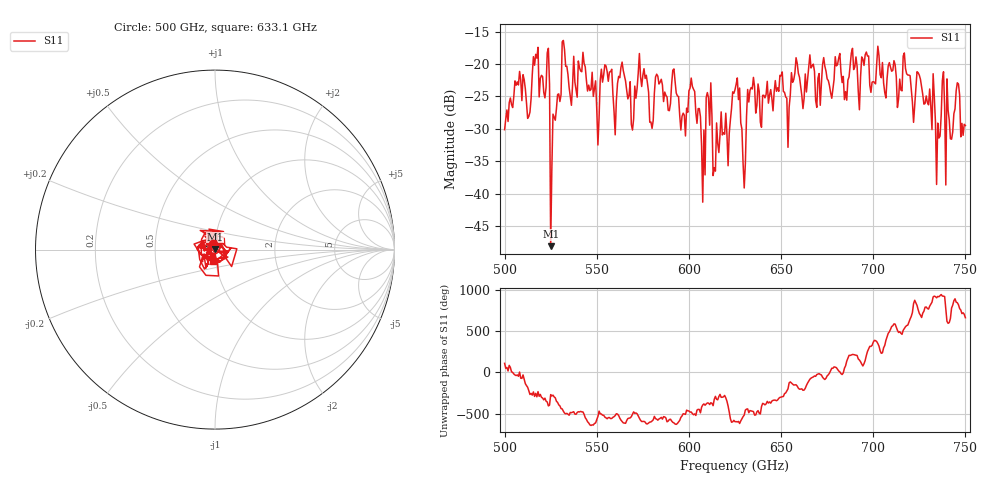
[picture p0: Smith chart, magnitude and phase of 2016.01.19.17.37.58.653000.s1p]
!Created with skrf (http://scikit-rf.org).
# GHz S RI R 50.0
!freq ReS11 ImS11
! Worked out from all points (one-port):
!   401 points, 500 GHz to 750 GHz, reference 50 ohm
!   lowest |S11| = -48.1 dB at 525 GHz (marker M1), VSWR 1.01, Z = 50 + j0.394 ohm
!   |S11| at or under -10 dB: start of sweep to end of sweep
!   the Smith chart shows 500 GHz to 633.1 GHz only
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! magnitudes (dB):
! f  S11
! 500 GHz  -30.1
! 506.9 GHz  -22.8
! 513.1 GHz  -28.1
! 516.9 GHz  -18.5
! 523.1 GHz  -18.3
! 525 GHz  -48.1
! 526.2 GHz  -27.7
! 531.2 GHz  -16.6
! 550 GHz  -27.0
! 562.5 GHz  -22.1
! 570 GHz  -28.5
! 574.4 GHz  -23.5
! 579.4 GHz  -28.9
! 583.1 GHz  -21.9
! 593.8 GHz  -24.9
! 601.9 GHz  -23.5
! 607.5 GHz  -41.3
! 610.6 GHz  -25.2
! 614.4 GHz  -36.5
! 625 GHz  -24.0
! 629.4 GHz  -35.3
! 634.4 GHz  -23.8
! 656.2 GHz  -22.8
! 687.5 GHz  -20.2
! 718.8 GHz  -21.7
! 735 GHz  -29.1
! 745.6 GHz  -22.9
! 750 GHz  -29.5
